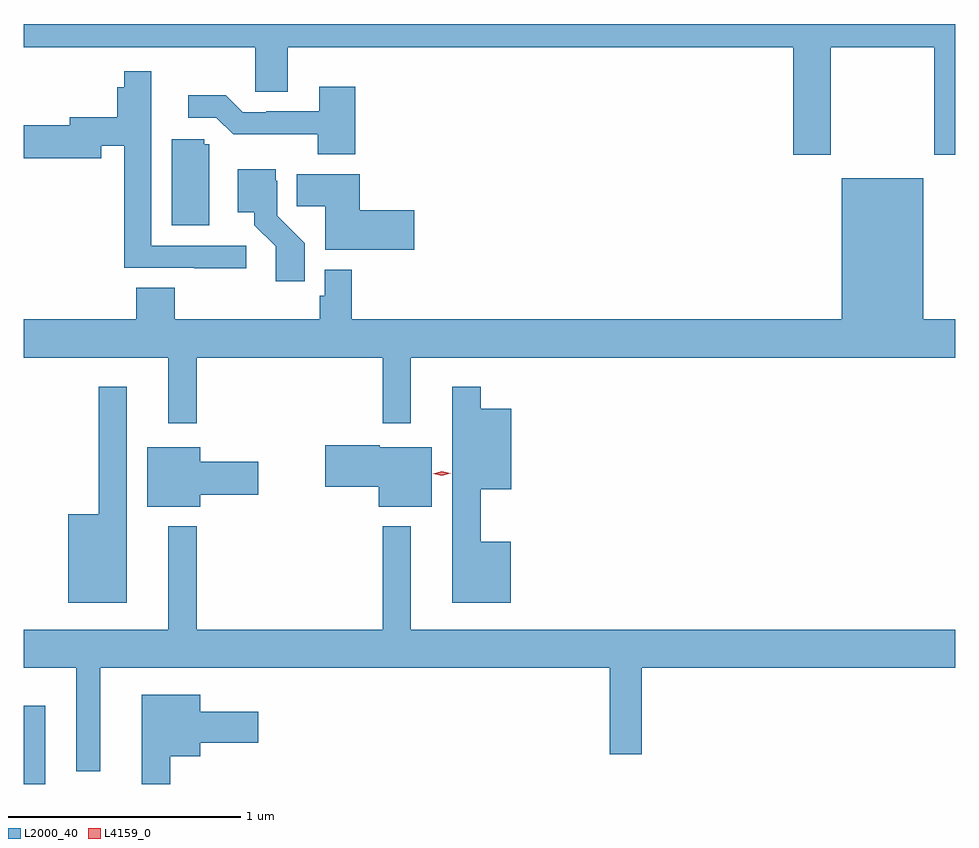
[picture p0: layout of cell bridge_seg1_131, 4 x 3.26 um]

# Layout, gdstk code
import gdstk
lib = gdstk.Library(unit=1e-6, precision=1e-09)
def R(c, l, rs):  # rectangles x0, y0, x1, y1
    for r in rs: c.add(gdstk.rectangle(r[:2], r[2:], *l))
def P(c, l, *ps):  # polygons
    for p in ps: c.add(gdstk.Polygon(p, *l))
L2000_40 = (2000, 40)
L4159_0 = (4159, 0)

bridge_seg1_131 = lib.new_cell('bridge_seg1_131')
R(bridge_seg1_131, L2000_40, [(412.255,580.538,412.348,580.873)])
P(bridge_seg1_131, L2000_40, [(415.719,583.7),(416.164,583.7),(416.164,583.239),(416.255,583.239),(416.255,583.8),(412.255,583.8),(412.255,583.7),(413.25,583.7),(413.25,583.51),(413.389,583.51),(413.389,583.7),(415.559,583.7),(415.559,583.239),(415.719,583.239)],
  [(413.212,582.849),(412.803,582.849),(412.803,583.597),(412.687,583.597),(412.687,583.528),(412.658,583.528),(412.658,583.399),(412.454,583.399),(412.454,583.365),(412.255,583.365),(412.255,583.223),(412.588,583.223),(412.588,583.277),(412.687,583.277),(412.687,582.753),(412.987,582.753),(412.987,582.751),(413.212,582.751)],
  [(413.678,583.531),(413.525,583.531),(413.525,583.425),(413.296,583.425),(413.296,583.422),(413.196,583.422),(413.123,583.495),(412.962,583.495),(412.962,583.398),(413.082,583.398),(413.155,583.326),(413.518,583.326),(413.518,583.241),(413.678,583.241)],
  [(413.053,583.284),(413.031,583.284),(413.031,583.305),(412.892,583.305),(412.892,582.936),(413.053,582.936)],
  [(413.462,582.858),(413.343,582.977),(413.343,583.128),(413.338,583.128),(413.338,583.177),(413.174,583.177),(413.174,582.992),(413.246,582.992),(413.246,582.937),(413.337,582.847),(413.337,582.696),(413.462,582.696)],
  [(413.932,583.001),(413.699,583.001),(413.699,583.156),(413.428,583.156),(413.428,583.018),(413.549,583.018),(413.549,582.83),(413.932,582.83)],
  [(412.999,582.368),(413.796,582.368),(413.796,582.087),(413.917,582.087),(413.917,582.368),(416.255,582.368),(416.255,582.532),(416.116,582.532),(416.116,583.138),(415.766,583.138),(415.766,582.532),(413.663,582.532),(413.663,582.745),(413.547,582.745),(413.547,582.633),(413.527,582.633),(413.527,582.532),(412.904,582.532),(412.904,582.668),(412.739,582.668),(412.739,582.532),(412.255,582.532),(412.255,582.368),(412.877,582.368),(412.877,582.087),(412.999,582.087)],
  [(412.699,582.244),(412.578,582.244),(412.578,581.695),(412.448,581.695),(412.448,581.315),(412.699,581.315)],
  [(414.346,581.578),(414.217,581.578),(414.217,581.804),(414.349,581.804),(414.349,582.148),(414.217,582.148),(414.217,582.244),(414.095,582.244),(414.095,581.315),(414.346,581.315)],
  [(414.007,581.983),(413.784,581.983),(413.784,581.991),(413.55,581.991),(413.55,581.813),(413.78,581.813),(413.78,581.729),(414.007,581.729)],
  [(413.014,581.78),(413.263,581.78),(413.263,581.922),(413.014,581.922),(413.014,581.983),(412.787,581.983),(412.787,581.729),(413.014,581.729)],
  [(412.585,581.036),(414.772,581.036),(414.772,580.665),(414.908,580.665),(414.908,581.036),(416.255,581.036),(416.255,581.2),(413.917,581.2),(413.917,581.644),(413.796,581.644),(413.796,581.2),(412.999,581.2),(412.999,581.644),(412.877,581.644),(412.877,581.2),(412.255,581.2),(412.255,581.036),(412.481,581.036),(412.481,580.592),(412.585,580.592)],
  [(412.885,580.658),(413.014,580.658),(413.014,580.715),(413.263,580.715),(413.263,580.849),(413.014,580.849),(413.014,580.921),(412.763,580.921),(412.763,580.538),(412.885,580.538)])
P(bridge_seg1_131, L4159_0, [(414.051,581.86),(414.013,581.869),(414.013,581.87),(414.013,581.87),(414.051,581.88),(414.089,581.871),(414.089,581.871),(414.089,581.871)])

lib.write_gds('bridge_seg1_131.gds')
